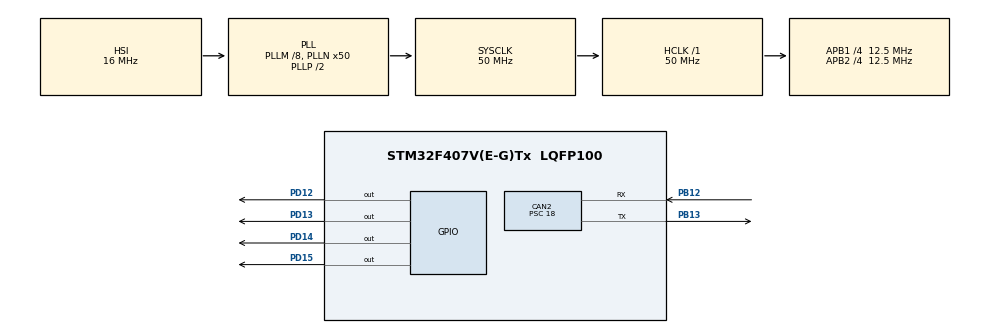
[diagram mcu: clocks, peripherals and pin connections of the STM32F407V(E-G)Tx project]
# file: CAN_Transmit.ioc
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CAN2.BS1=CAN_BS1_2TQ
CAN2.CalculateBaudRate=173611
CAN2.CalculateTimeBit=5760
CAN2.CalculateTimeQuantum=1440.0
CAN2.Prescaler=18
Mcu.Family=STM32F4
Mcu.Name=STM32F407V(E-G)Tx
Mcu.Package=LQFP100
NVIC.PriorityGroup=NVIC_PRIORITYGROUP_0
PB12.Mode=CAN_Activate
PB12.Signal=CAN2_RX
PB13.Mode=CAN_Activate
PB13.Signal=CAN2_TX
PD12.Signal=GPIO_Output
PD13.Signal=GPIO_Output
PD14.Signal=GPIO_Output
PD15.Signal=GPIO_Output
ProjectManager.HeapSize=0x200
ProjectManager.StackSize=0x400
ProjectManager.TargetToolchain=STM32CubeIDE
RCC.48MHZClocksFreq_Value=14285714.285714285
RCC.AHBFreq_Value=50000000
RCC.APB1CLKDivider=RCC_HCLK_DIV4
RCC.APB1Freq_Value=12500000
RCC.APB1TimFreq_Value=25000000
RCC.APB2CLKDivider=RCC_HCLK_DIV4
RCC.APB2Freq_Value=12500000
RCC.APB2TimFreq_Value=25000000
RCC.CortexFreq_Value=50000000
RCC.HCLKFreq_Value=50000000
RCC.HSE_VALUE=8000000
RCC.HSI_VALUE=16000000
RCC.PLLM=8
RCC.PLLN=50
RCC.PLLQ=7
RCC.SYSCLKFreq_VALUE=50000000
RCC.SYSCLKSource=RCC_SYSCLKSOURCE_PLLCLK
RCC.VCOOutputFreq_Value=100000000
board=STM32F407G-DISC1

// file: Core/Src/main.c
/* USER CODE BEGIN Header */
/**
  ******************************************************************************
  * @file           : main.c
  * @brief          : Main program body
  ******************************************************************************
  * @attention
  *
  * Copyright (c) 2025 STMicroelectronics.
  * All rights reserved.
  *
  * This software is licensed under terms that can be found in the LICENSE file
  * in the root directory of this software component.
  * If no LICENSE file comes with this software, it is provided AS-IS.
  *
  ******************************************************************************
  */
/* USER CODE END Header */
#include "main.h"

CAN_HandleTypeDef hcan2;

void SystemClock_Config(void);
static void MX_GPIO_Init(void);
static void MX_CAN2_Init(void);
/* USER CODE BEGIN PFP */
uint8_t TxData[5];
uint32_t TxMailBox;
CAN_TxHeaderTypeDef TxHeader;
/* USER CODE END PFP */

int main(void)
{

  /* MCU Configuration--------------------------------------------------------*/

  /* Reset of all peripherals, Initializes the Flash interface and the Systick. */
  HAL_Init();

  /* Configure the system clock */
  SystemClock_Config();

  /* Initialize all configured peripherals */
  MX_GPIO_Init();
  MX_CAN2_Init();
  /* USER CODE BEGIN 2 */
  HAL_CAN_Start(&hcan2);
//  HAL_CAN_ActivateNotification(&hcan2, CAN_IT_RX_FIFO0_MSG_PENDING);
  HAL_Delay(100);
  HAL_Delay(100);

  TxHeader.DLC=3;
  TxHeader.RTR=CAN_RTR_DATA;
  TxHeader.IDE=CAN_ID_STD;
  TxHeader.ExtId=0x00;
  TxHeader.StdId=0x0AA;
  TxHeader.TransmitGlobalTime=DISABLE;
  TxData[0]=0;
  /* USER CODE END 2 */

  /* Infinite loop */
  /* USER CODE BEGIN WHILE */
  while (1)
  {
	  TxData[0]=1;
	  if(HAL_CAN_AddTxMessage(&hcan2,&TxHeader,TxData,&TxMailBox)!=HAL_OK)
			HAL_GPIO_TogglePin(GPIOD, GPIO_PIN_14);
	  else {
	  HAL_GPIO_TogglePin(GPIOD, GPIO_PIN_12);
	  HAL_Delay(2000);
	  }
    /* USER CODE END WHILE */

  }
}

void SystemClock_Config(void)
{
  RCC_OscInitTypeDef RCC_OscInitStruct = {0};
  RCC_ClkInitTypeDef RCC_ClkInitStruct = {0};

  /** Configure the main internal regulator output voltage
  */
  __HAL_RCC_PWR_CLK_ENABLE();
  __HAL_PWR_VOLTAGESCALING_CONFIG(PWR_REGULATOR_VOLTAGE_SCALE1);

  /** Initializes the RCC Oscillators according to the specified parameters
  * in the RCC_OscInitTypeDef structure.
  */
  RCC_OscInitStruct.OscillatorType = RCC_OSCILLATORTYPE_HSI;
  RCC_OscInitStruct.HSIState = RCC_HSI_ON;
  RCC_OscInitStruct.HSICalibrationValue = RCC_HSICALIBRATION_DEFAULT;
  RCC_OscInitStruct.PLL.PLLState = RCC_PLL_ON;
  RCC_OscInitStruct.PLL.PLLSource = RCC_PLLSOURCE_HSI;
  RCC_OscInitStruct.PLL.PLLM = 8;
  RCC_OscInitStruct.PLL.PLLN = 50;
  RCC_OscInitStruct.PLL.PLLP = RCC_PLLP_DIV2;
  RCC_OscInitStruct.PLL.PLLQ = 7;
  if (HAL_RCC_OscConfig(&RCC_OscInitStruct) != HAL_OK)
  {
    Error_Handler();
  }

  /** Initializes the CPU, AHB and APB buses clocks
  */
  RCC_ClkInitStruct.ClockType = RCC_CLOCKTYPE_HCLK|RCC_CLOCKTYPE_SYSCLK
                              |RCC_CLOCKTYPE_PCLK1|RCC_CLOCKTYPE_PCLK2;
  RCC_ClkInitStruct.SYSCLKSource = RCC_SYSCLKSOURCE_PLLCLK;
  RCC_ClkInitStruct.AHBCLKDivider = RCC_SYSCLK_DIV1;
  RCC_ClkInitStruct.APB1CLKDivider = RCC_HCLK_DIV4;
  RCC_ClkInitStruct.APB2CLKDivider = RCC_HCLK_DIV4;

  if (HAL_RCC_ClockConfig(&RCC_ClkInitStruct, FLASH_LATENCY_1) != HAL_OK)
  {
    Error_Handler();
  }
}

static void MX_CAN2_Init(void)
{

  hcan2.Instance = CAN2;
  hcan2.Init.Prescaler = 18;
  hcan2.Init.Mode = CAN_MODE_NORMAL;
  hcan2.Init.SyncJumpWidth = CAN_SJW_1TQ;
  hcan2.Init.TimeSeg1 = CAN_BS1_2TQ;
  hcan2.Init.TimeSeg2 = CAN_BS2_1TQ;
  hcan2.Init.TimeTriggeredMode = DISABLE;
  hcan2.Init.AutoBusOff = DISABLE;
  hcan2.Init.AutoWakeUp = DISABLE;
  hcan2.Init.AutoRetransmission = DISABLE;
  hcan2.Init.ReceiveFifoLocked = DISABLE;
  hcan2.Init.TransmitFifoPriority = DISABLE;
  if (HAL_CAN_Init(&hcan2) != HAL_OK)
  {
    Error_Handler();
  }

}

static void MX_GPIO_Init(void)
{
  GPIO_InitTypeDef GPIO_InitStruct = {0};

  /* GPIO Ports Clock Enable */
  __HAL_RCC_GPIOB_CLK_ENABLE();
  __HAL_RCC_GPIOD_CLK_ENABLE();

  /*Configure GPIO pin Output Level */
  HAL_GPIO_WritePin(GPIOD, GPIO_PIN_12|GPIO_PIN_13|GPIO_PIN_14|GPIO_PIN_15, GPIO_PIN_RESET);

  /*Configure GPIO pins : PD12 PD13 PD14 PD15 */
  GPIO_InitStruct.Pin = GPIO_PIN_12|GPIO_PIN_13|GPIO_PIN_14|GPIO_PIN_15;
  GPIO_InitStruct.Mode = GPIO_MODE_OUTPUT_PP;
  GPIO_InitStruct.Pull = GPIO_NOPULL;
  GPIO_InitStruct.Speed = GPIO_SPEED_FREQ_LOW;
  HAL_GPIO_Init(GPIOD, &GPIO_InitStruct);

}

void Error_Handler(void)
{
  __disable_irq();
  while (1)
  {
  }
}
